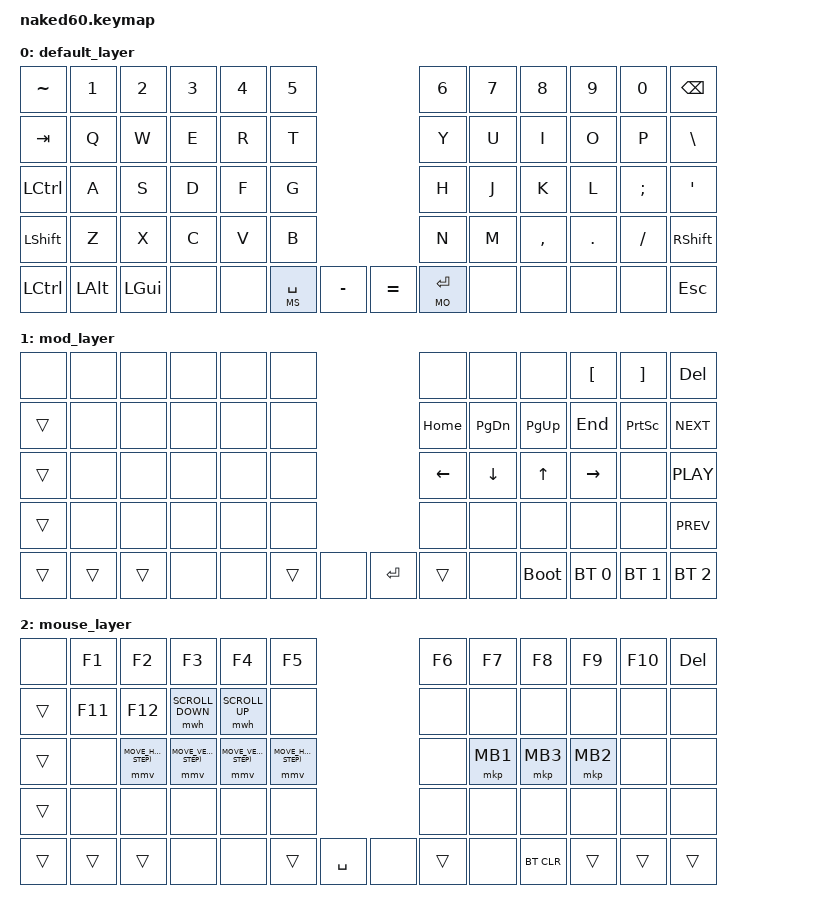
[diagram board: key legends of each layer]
/*
 * Copyright (c) 2021 The ZMK Contributors
 *
 * SPDX-License-Identifier: MIT
 */
 
#include <behaviors.dtsi>
#include <dt-bindings/zmk/keys.h>
#include <dt-bindings/zmk/bt.h>
#include <dt-bindings/zmk/outputs.h>
#include <dt-bindings/zmk/matrix_transform.h>
#include <dt-bindings/zmk/mouse.h>

#define DEFAULT 0
#define MO      1
#define MS      2

#define MOUSE_STEP 1200
#define MMV_MOVE_UP    &mmv MOVE_VERT(-MOUSE_STEP)
#define MMV_MOVE_DOWN  &mmv MOVE_VERT(MOUSE_STEP)
#define MMV_MOVE_LEFT  &mmv MOVE_HOR(-MOUSE_STEP)
#define MMV_MOVE_RIGHT &mmv MOVE_HOR(MOUSE_STEP)

/ {
	chosen {
		zmk,kscan = &kscan0;
		zmk,matrix_transform = &default_transform;
	};

    behaviors {
        lt {
            flavor = "balanced";
        };
    };

	default_transform: keymap_transform_0 {
		compatible = "zmk,matrix-transform";
		columns = <13>;
		rows = <5>;
// | SW0 | SW5 | SW10 | SW15 | SW20 | SW25		             | SW25 | SW20 | SW15 | SW10 | SW5 | SW1 |
// | SW1 | SW6 | SW11 | SW16 | SW21 | SW26		             | SW26 | SW21 | SW16 | SW11 | SW6 | SW2 |
// | SW2 | SW7 | SW12 | SW17 | SW22 | SW27		             | SW27 | SW22 | SW17 | SW12 | SW7 | SW3 |
// | SW3 | SW8 | SW13 | SW18 | SW23 | SW28		             | SW28 | SW23 | SW18 | SW13 | SW8 | SW4 |
// | SW4 | SW9 | SW14 | SW19 | SW24 | SW29                   | SW29 | SW24 | SW19 | SW14 | SW9 | SW5 |
//                                    SW30                   | SW30
		map = <
RC(0,0) RC(0,1) RC(0,2) RC(0,3) RC(0,4) RC(0,5)                 RC(0,7) RC(0,8) RC(0,9) RC(0,10) RC(0,11) RC(0,12)
RC(1,0) RC(1,1) RC(1,2) RC(1,3) RC(1,4) RC(1,5)                 RC(1,7) RC(1,8) RC(1,9) RC(1,10) RC(1,11) RC(1,12)
RC(2,0) RC(2,1) RC(2,2) RC(2,3) RC(2,4) RC(2,5)                 RC(2,7) RC(2,8) RC(2,9) RC(2,10) RC(2,11) RC(2,12)
RC(3,0) RC(3,1) RC(3,2) RC(3,3) RC(3,4) RC(3,5)                 RC(3,7) RC(3,8) RC(3,9) RC(3,10) RC(3,11) RC(3,12)
RC(4,0) RC(4,1) RC(4,2) RC(4,3) RC(4,4) RC(4,5) RC(3,6) RC(4,6) RC(4,7) RC(4,8) RC(4,9) RC(4,10) RC(4,11) RC(4,12)
		>;
	};
    keymap {
        compatible = "zmk,keymap";

        default_layer {
            bindings = <
&kp TILDE &kp N1   &kp N2   &kp N3 &kp N4 &kp N5                           &kp N6     &kp N7 &kp N8    &kp N9  &kp N0   &kp BSPC
&kp TAB   &kp Q    &kp W    &kp E  &kp R  &kp T                            &kp Y      &kp U  &kp I     &kp O   &kp P    &kp BSLH
&kp LCTRL &kp A    &kp S    &kp D  &kp F  &kp G                            &kp H      &kp J  &kp K     &kp L   &kp SEMI &kp SQT
&kp LSHFT &kp Z    &kp X    &kp C  &kp V  &kp B                            &kp N      &kp M  &kp COMMA &kp DOT &kp FSLH &kp RSHFT
&kp LCTRL &kp LALT &kp LGUI &none  &none  &lt MS SPACE &kp MINUS &kp EQUAL &lt MO RET &none  &none     &none   &none    &kp ESC
            >;
        };

        mod_layer {
            bindings = <
&none  &none  &none  &none  &none  &none                &none    &none     &none       &kp LBKT     &kp RBKT     &kp DEL
&trans &none  &none  &none  &none  &none                &kp HOME &kp PG_DN &kp PG_UP   &kp END      &kp PSCRN    &kp C_NEXT
&trans &none  &none  &none  &none  &none                &kp LEFT &kp DOWN  &kp UP      &kp RIGHT    &none        &kp C_PLAY
&trans &none  &none  &none  &none  &none                &none    &none     &none       &none        &none        &kp C_PREV
&trans &trans &trans &none  &none  &trans &none &kp RET &trans   &none     &bootloader &bt BT_SEL 0 &bt BT_SEL 1 &bt BT_SEL 2
            >;
        };

        mouse_layer {
            bindings = <
&none  &kp F1  &kp F2         &kp F3           &kp F4         &kp F5                         &kp F6 &kp F7   &kp F8     &kp F9   &kp F10 &kp DEL
&trans &kp F11 &kp F12        &mwh SCROLL_DOWN &mwh SCROLL_UP &none                          &none  &none    &none      &none    &none   &none
&trans &none   MMV_MOVE_LEFT  MMV_MOVE_DOWN    MMV_MOVE_UP    MMV_MOVE_RIGHT                 &none  &mkp MB1 &mkp MB3   &mkp MB2 &none   &none
&trans &none   &none          &none            &none          &none                          &none  &none    &none      &none    &none   &none
&trans &trans  &trans         &none            &none          &trans         &kp SPACE &none &trans &none    &bt BT_CLR &trans   &trans  &trans
            >;
        };
    };
};
